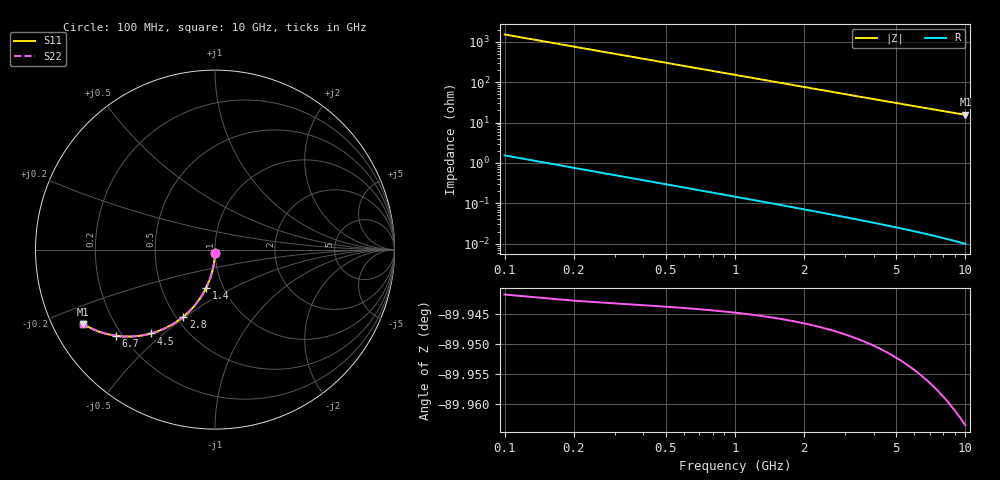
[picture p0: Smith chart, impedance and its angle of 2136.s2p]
# Hz S RI R 50.00
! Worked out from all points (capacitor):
!   100 points, 100 MHz to 10 GHz, reference 50 ohm
!   read as one part in shunt: C = 1.05 pF near 100 MHz
!   lowest |Z| = 15.6 ohm at 10 GHz (marker M1)
!   S11 on the Smith chart (normalised r, x): 100 MHz: 1.00, -0.03; 1.4 GHz: 0.83, -0.38; 2.8 GHz: 0.54, -0.49; 4.5 GHz: 0.32, -0.45; 6.7 GHz: 0.18, -0.36; 10 GHz: 0.09, -0.26
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1e8  -4.33e-05 -0.0162  0.9995 -0.0167  0.9995 -0.0167  -4.33e-05 -0.0162
2e8  -0.000873 -0.0325  0.9986 -0.0335  0.9986 -0.0335  -0.000873 -0.0325
3e8  -0.00224 -0.0486  0.9973 -0.0501  0.9973 -0.0501  -0.00224 -0.0486
4e8  -0.00415 -0.0647  0.9953 -0.0667  0.9953 -0.0667  -0.00415 -0.0647
5e8  -0.00659 -0.0807  0.9929 -0.0832  0.9929 -0.0832  -0.00659 -0.0807
6e8  -0.00955 -0.0965  0.9899 -0.0995  0.9899 -0.0995  -0.00955 -0.0965
7e8  -0.013 -0.1122  0.9865 -0.1157  0.9865 -0.1157  -0.013 -0.1122
9e8  -0.0215 -0.143  0.978 -0.1475  0.978 -0.1475  -0.0215 -0.143
1.1e9  -0.0318 -0.1729  0.9677 -0.1784  0.9677 -0.1784  -0.0318 -0.1729
1.4e9  -0.0506 -0.2157  0.9489 -0.2228  0.9489 -0.2228  -0.0506 -0.2157
1.8e9  -0.0811 -0.2683  0.9184 -0.2774  0.9184 -0.2774  -0.0811 -0.2683
2.3e9  -0.126 -0.3259  0.8734 -0.3375  0.8734 -0.3375  -0.126 -0.3259
2.8e9  -0.1761 -0.3737  0.8232 -0.3877  0.8232 -0.3877  -0.1761 -0.3737
3.4e9  -0.2399 -0.4181  0.7595 -0.4352  0.7595 -0.4352  -0.2399 -0.4181
3.9e9  -0.2936 -0.4452  0.7057 -0.4649  0.7057 -0.4649  -0.2936 -0.4452
4.5e9  -0.3565 -0.4672  0.6427 -0.4899  0.6427 -0.4899  -0.3565 -0.4672
5.1e9  -0.416 -0.4796  0.5831 -0.5053  0.5831 -0.5053  -0.416 -0.4796
5.9e9  -0.4886 -0.4844  0.5104 -0.5143  0.5104 -0.5143  -0.4886 -0.4844
6.7e9  -0.5526 -0.4796  0.4463 -0.5136  0.4463 -0.5136  -0.5526 -0.4796
7.5e9  -0.6081 -0.4684  0.3906 -0.5065  0.3906 -0.5065  -0.6081 -0.4684
8.4e9  -0.6613 -0.4511  0.3372 -0.4938  0.3372 -0.4938  -0.6613 -0.4511
1e10  -0.7358 -0.4142  0.2622 -0.4654  0.2622 -0.4654  -0.7358 -0.4142
